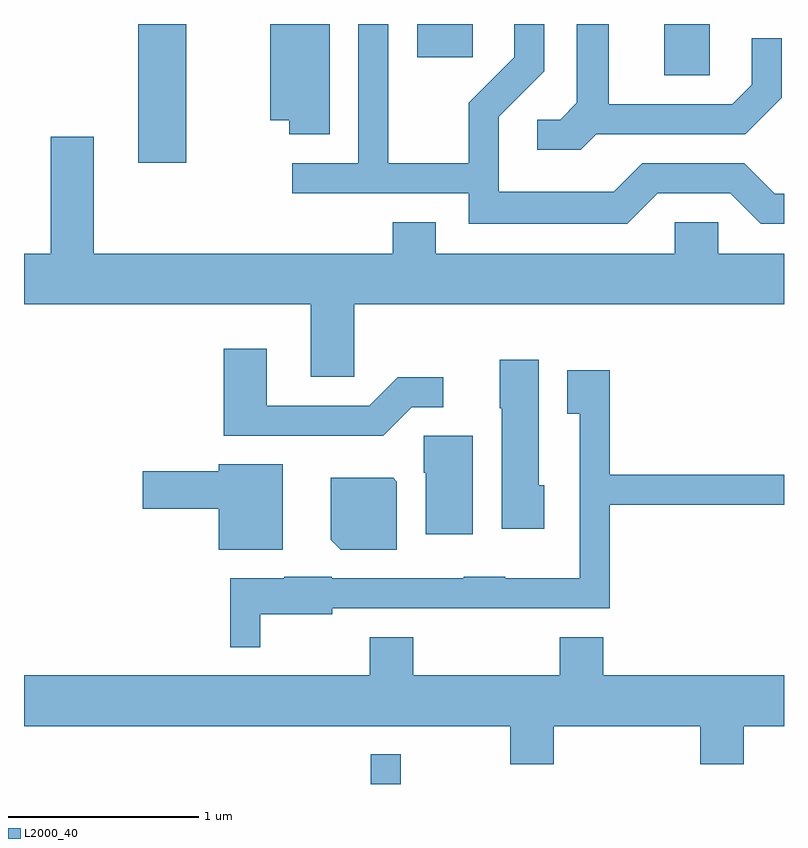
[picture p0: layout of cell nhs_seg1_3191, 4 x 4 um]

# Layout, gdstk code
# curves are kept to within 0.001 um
import gdstk
lib = gdstk.Library(unit=1e-6, precision=1e-09)
def R(c, l, rs):  # rectangles x0, y0, x1, y1
    for r in rs: c.add(gdstk.rectangle(r[:2], r[2:], *l))
def P(c, l, *ps):  # polygons
    for p in ps: c.add(gdstk.Polygon(p, *l))
L2000_40 = (2000, 40)

nhs_seg1_3191 = lib.new_cell('nhs_seg1_3191')
R(nhs_seg1_3191, L2000_40, [(283.436,903.712,283.594,903.868), (282.211,906.981,282.464,907.712), (284.981,907.441,285.219,907.712), (283.681,907.536,283.974,907.712)])
P(nhs_seg1_3191, L2000_40, [(283.219,907.712),(282.906,907.712),(282.906,907.206),(283.006,907.206),(283.006,907.131),(283.219,907.131)],
  [(284.622,907.131),(285.407,907.131),(285.599,907.324),(285.599,907.638),(285.441,907.638),(285.441,907.392),(285.339,907.289),(284.689,907.289),(284.689,907.712),(284.521,907.712),(284.521,907.297),(284.434,907.209),(284.313,907.209),(284.313,907.051),(284.542,907.051)],
  [(284.947,906.821),(285.329,906.821),(285.489,906.661),(285.611,906.661),(285.611,906.819),(285.562,906.819),(285.402,906.979),(284.864,906.979),(284.714,906.829),(284.109,906.829),(284.109,907.224),(284.349,907.464),(284.349,907.712),(284.191,907.712),(284.191,907.537),(283.951,907.297),(283.951,906.979),(283.529,906.979),(283.529,907.712),(283.371,907.712),(283.371,906.979),(283.023,906.979),(283.023,906.821),(283.951,906.821),(283.951,906.661),(284.787,906.661)],
  [(283.349,906.236),(285.611,906.236),(285.611,906.504),(285.264,906.504),(285.264,906.669),(285.036,906.669),(285.036,906.504),(283.779,906.504),(283.779,906.669),(283.551,906.669),(283.551,906.504),(281.979,906.504),(281.979,907.119),(281.751,907.119),(281.751,906.504),(281.611,906.504),(281.611,906.236),(283.121,906.236),(283.121,905.856),(283.349,905.856)],
  [(283.652,905.696),(283.818,905.696),(283.818,905.854),(283.579,905.854),(283.429,905.704),(282.889,905.704),(282.889,906.004),(282.661,906.004),(282.661,905.546),(283.502,905.546)],
  [(284.349,905.284),(284.319,905.284),(284.319,905.944),(284.116,905.944),(284.116,905.69),(284.126,905.69),(284.126,905.056),(284.349,905.056)],
  [(282.854,904.606),(283.234,904.606),(283.234,904.636),(284.694,904.636),(284.694,905.181),(285.611,905.181),(285.611,905.339),(284.694,905.339),(284.694,905.889),(284.471,905.889),(284.471,905.661),(284.536,905.661),(284.536,904.794),(284.145,904.794),(284.145,904.804),(283.925,904.804),(283.925,904.794),(283.23,904.794),(283.23,904.804),(282.98,904.804),(282.98,904.794),(282.696,904.794),(282.696,904.433),(282.854,904.433)],
  [(283.974,905.544),(283.716,905.544),(283.716,905.35),(283.726,905.35),(283.726,905.026),(283.974,905.026)],
  [(282.974,905.394),(282.636,905.394),(282.636,905.359),(282.236,905.359),(282.236,905.161),(282.636,905.161),(282.636,904.946),(282.974,904.946)],
  [(283.574,905.304),(283.554,905.324),(283.226,905.324),(283.226,904.997),(283.277,904.946),(283.574,904.946)],
  [(284.399,904.016),(285.171,904.016),(285.171,903.816),(285.399,903.816),(285.399,904.016),(285.611,904.016),(285.611,904.284),(284.659,904.284),(284.659,904.484),(284.431,904.484),(284.431,904.284),(283.659,904.284),(283.659,904.484),(283.431,904.484),(283.431,904.284),(281.611,904.284),(281.611,904.016),(284.171,904.016),(284.171,903.816),(284.399,903.816)])

lib.write_gds('nhs_seg1_3191.gds')
